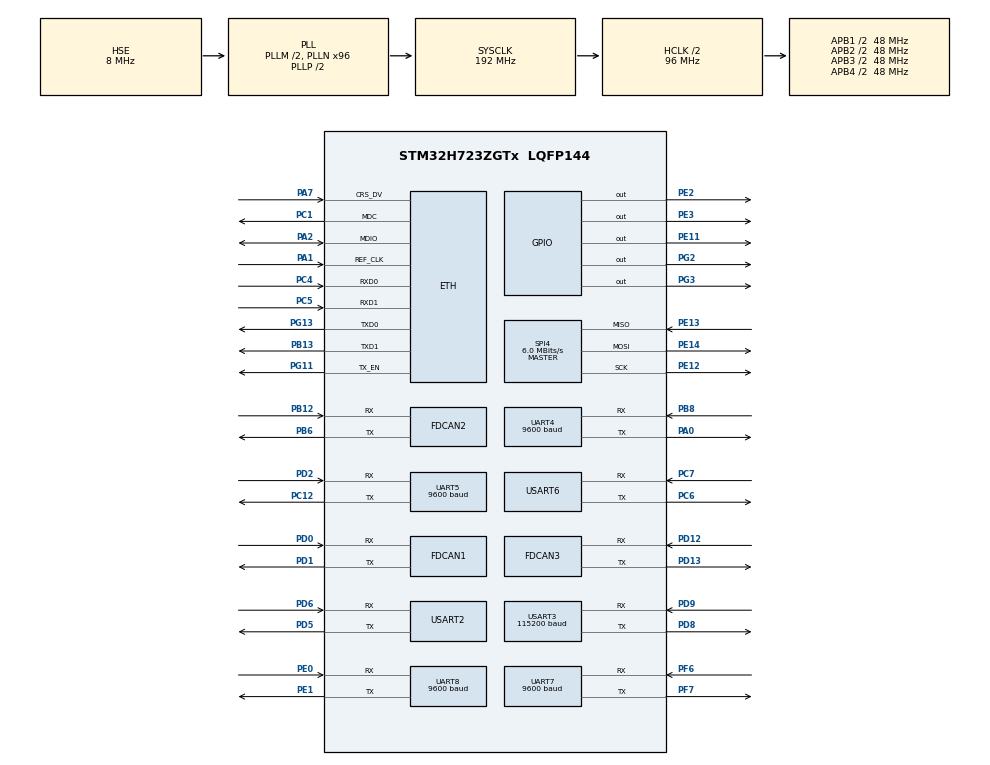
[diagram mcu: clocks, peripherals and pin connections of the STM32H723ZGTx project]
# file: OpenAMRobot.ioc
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CORTEX_M7.default_mode_Activation=1
DMA1.RequestsNb=2
DMA1.Stream0.Direction=DMA_PERIPH_TO_MEMORY
DMA1.Stream0.FIFOMode=DMA_FIFOMODE_DISABLE
DMA1.Stream0.Instance=DMA1_Stream0
DMA1.Stream0.MemDataAlignment=DMA_MDATAALIGN_BYTE
DMA1.Stream0.MemInc=DMA_MINC_ENABLE
DMA1.Stream0.Mode=DMA_CIRCULAR
DMA1.Stream0.PeriphDataAlignment=DMA_PDATAALIGN_BYTE
DMA1.Stream0.PeriphInc=DMA_PINC_DISABLE
DMA1.Stream0.Priority=DMA_PRIORITY_HIGH
DMA1.Stream0.Request=DMA_REQUEST_USART2_RX
DMA1.Stream1.Direction=DMA_PERIPH_TO_MEMORY
DMA1.Stream1.FIFOMode=DMA_FIFOMODE_DISABLE
DMA1.Stream1.Instance=DMA1_Stream1
DMA1.Stream1.MemDataAlignment=DMA_MDATAALIGN_BYTE
DMA1.Stream1.MemInc=DMA_MINC_ENABLE
DMA1.Stream1.Mode=DMA_CIRCULAR
DMA1.Stream1.PeriphDataAlignment=DMA_PDATAALIGN_BYTE
DMA1.Stream1.PeriphInc=DMA_PINC_DISABLE
DMA1.Stream1.Priority=DMA_PRIORITY_HIGH
DMA1.Stream1.Request=DMA_REQUEST_USART6_RX
ETH.MediaInterface=HAL_ETH_RMII_MODE
FDCAN1.AutoRetransmission=ENABLE
FDCAN1.CalculateBaudRateNominal=500000
FDCAN1.CalculateTimeBitNominal=2000
FDCAN1.CalculateTimeQuantumNominal=125.0
FDCAN1.MessageRAMOffset=0
FDCAN1.Mode=FDCAN_MODE_BUS_MONITORING
FDCAN1.NominalPrescaler=6
FDCAN1.NominalTimeSeg1=13
FDCAN1.NominalTimeSeg2=2
FDCAN1.RxFifo0ElmtsNbr=16
FDCAN1.StdFiltersNbr=1
FDCAN1.TxFifoQueueElmtsNbr=0
FDCAN2.AutoRetransmission=ENABLE
FDCAN2.CalculateBaudRateNominal=250000
FDCAN2.CalculateTimeBitNominal=4000
FDCAN2.CalculateTimeQuantumNominal=250.0
FDCAN2.ExtFiltersNbr=1
FDCAN2.MessageRAMOffset=512
FDCAN2.NominalPrescaler=12
FDCAN2.NominalTimeSeg1=13
FDCAN2.NominalTimeSeg2=2
FDCAN2.RxFifo0ElmtsNbr=16
FDCAN2.StdFiltersNbr=0
FDCAN2.TxFifoQueueElmtsNbr=8
FDCAN3.AutoRetransmission=ENABLE
FDCAN3.CalculateBaudRateNominal=500000
FDCAN3.CalculateTimeBitNominal=2000
FDCAN3.CalculateTimeQuantumNominal=125.0
FDCAN3.MessageRAMOffset=1024
FDCAN3.Mode=FDCAN_MODE_BUS_MONITORING
FDCAN3.NominalPrescaler=6
FDCAN3.NominalTimeSeg1=13
FDCAN3.NominalTimeSeg2=2
FDCAN3.RxFifo0ElmtsNbr=16
FDCAN3.StdFiltersNbr=1
FDCAN3.TxFifoQueueElmtsNbr=0
Mcu.Family=STM32H7
Mcu.Name=STM32H723ZGTx
Mcu.Package=LQFP144
NVIC.TIM8_UP_TIM13_IRQn=true\:5\:0\:true\:false\:true\:true\:true\:true
NVIC.DMA1_Stream0_IRQn=true\:5\:0\:true\:false\:true\:true\:true\:true
NVIC.DMA1_Stream1_IRQn=true\:5\:0\:true\:false\:true\:true\:true\:true
NVIC.ETH_IRQn=true\:5\:0\:true\:false\:true\:true\:true\:true
NVIC.FDCAN1_IT0_IRQn=true\:5\:0\:true\:false\:true\:true\:true\:true
NVIC.FDCAN2_IT0_IRQn=true\:5\:0\:true\:false\:true\:true\:true\:true
NVIC.FDCAN3_IT0_IRQn=true\:5\:0\:true\:false\:true\:true\:true\:true
NVIC.PriorityGroup=NVIC_PRIORITYGROUP_4
NVIC.UART4_IRQn=true\:5\:0\:true\:false\:true\:true\:true\:true
NVIC.UART5_IRQn=true\:5\:0\:true\:false\:true\:true\:true\:true
NVIC.UART7_IRQn=true\:5\:0\:true\:false\:true\:true\:true\:true
NVIC.UART8_IRQn=true\:5\:0\:true\:false\:true\:true\:true\:true
NVIC.USART2_IRQn=true\:5\:0\:true\:false\:true\:true\:true\:true
NVIC.USART3_IRQn=true\:5\:0\:true\:false\:true\:true\:true\:true
NVIC.USART6_IRQn=true\:5\:0\:true\:false\:true\:true\:true\:true
PA0.Mode=Asynchronous
PA0.Signal=UART4_TX
PA1.Mode=RMII
PA1.Signal=ETH_REF_CLK
PA13(JTMS/SWDIO).GPIO_Label=SWDIO
PA13(JTMS/SWDIO).Mode=Serial_Wire
PA13(JTMS/SWDIO).Signal=DEBUG_JTMS-SWDIO
PA14(JTCK/SWCLK).GPIO_Label=SWCLK
PA14(JTCK/SWCLK).Mode=Serial_Wire
PA14(JTCK/SWCLK).Signal=DEBUG_JTCK-SWCLK
PA2.Mode=RMII
PA2.Signal=ETH_MDIO
PA7.Mode=RMII
PA7.Signal=ETH_CRS_DV
PB12.Mode=FDCAN_Activate
PB12.Signal=FDCAN2_RX
PB13.Mode=RMII
PB13.Signal=ETH_TXD1
PB6.Mode=FDCAN_Activate
PB6.Signal=FDCAN2_TX
PB8.Mode=Asynchronous
PB8.Signal=UART4_RX
PC1.Mode=RMII
PC1.Signal=ETH_MDC
PC12.Mode=Asynchronous
PC12.Signal=UART5_TX
PC14-OSC32_IN.Signal=RCC_OSC32_IN
PC15-OSC32_OUT.Signal=RCC_OSC32_OUT
PC4.Mode=RMII
PC4.Signal=ETH_RXD0
PC5.Mode=RMII
PC5.Signal=ETH_RXD1
PC6.Mode=Asynchronous
PC6.Signal=USART6_TX
PC7.Mode=Asynchronous
PC7.Signal=USART6_RX
PD0.Mode=FDCAN_Activate
PD0.Signal=FDCAN1_RX
PD1.Mode=FDCAN_Activate
PD1.Signal=FDCAN1_TX
PD12.Mode=FDCAN_Activate
PD12.Signal=FDCAN3_RX
PD13.Mode=FDCAN_Activate
PD13.Signal=FDCAN3_TX
PD2.Mode=Asynchronous
PD2.Signal=UART5_RX
PD5.Mode=Asynchronous
PD5.Signal=USART2_TX
PD6.Mode=Asynchronous
PD6.Signal=USART2_RX
PD8.Mode=Asynchronous
PD8.Signal=USART3_TX
PD9.Mode=Asynchronous
PD9.Signal=USART3_RX
PE0.Mode=Asynchronous
PE0.Signal=UART8_RX
PE1.Mode=Asynchronous
PE1.Signal=UART8_TX
PE11.PinState=GPIO_PIN_SET
PE11.Signal=GPIO_Output
PE12.Mode=Full_Duplex_Master
PE12.Signal=SPI4_SCK
PE13.GPIO_Mode=GPIO_MODE_AF_PP
PE13.GPIO_PuPd=GPIO_NOPULL
PE13.GPIO_Speed=GPIO_SPEED_FREQ_LOW
PE13.Mode=Full_Duplex_Master
PE13.Signal=SPI4_MISO
PE14.Mode=Full_Duplex_Master
PE14.Signal=SPI4_MOSI
PE2.Signal=GPIO_Output
PE3.Signal=GPIO_Output
PF6.Mode=Asynchronous
PF6.Signal=UART7_RX
PF7.Mode=Asynchronous
PF7.Signal=UART7_TX
PG11.Mode=RMII
PG11.Signal=ETH_TX_EN
PG13.Mode=RMII
PG13.Signal=ETH_TXD0
PG2.Signal=GPIO_Output
PG3.Signal=GPIO_Output
PH0-OSC_IN.Mode=HSE-External-Clock-Source
PH0-OSC_IN.Signal=RCC_OSC_IN
ProjectManager.HeapSize=0x200
ProjectManager.StackSize=0x1000
ProjectManager.TargetToolchain=CMake
TIM13.Channel-Output_Compare_No_Output=TIM_CHANNEL_1
TIM13.Period=65535
TIM13.Prescaler=47
RCC.ADCFreq_Value=76000000
RCC.APB1Freq_Value=48000000
RCC.APB2Freq_Value=48000000
RCC.APB3Freq_Value=48000000
RCC.APB4Freq_Value=48000000
RCC.CortexFreq_Value=192000000
RCC.D1PPRE=RCC_APB3_DIV2
RCC.D2PPRE1=RCC_APB1_DIV2
RCC.D2PPRE2=RCC_APB2_DIV2
RCC.D3PPRE=RCC_APB4_DIV2
RCC.DIVM1=2
RCC.DIVM2=1
RCC.DIVN1=96
RCC.DIVN2=19
RCC.DIVQ1=8
RCC.HCLKFreq_Value=96000000
RCC.HPRE=RCC_HCLK_DIV2
RCC.HSE_VALUE=8000000
RCC.PLLFRACN=0
RCC.PLLSourceVirtual=RCC_PLLSOURCE_HSE
RCC.SYSCLKFreq_VALUE=192000000
RCC.SYSCLKSource=RCC_SYSCLKSOURCE_PLLCLK
RCC.USBCLockSelection=RCC_USBCLKSOURCE_HSI48
RCC.USBFreq_Value=48000000
SPI4.BaudRatePrescaler=SPI_BAUDRATEPRESCALER_8
SPI4.CalculateBaudRate=6.0 MBits/s
SPI4.DataSize=SPI_DATASIZE_8BIT
SPI4.Direction=SPI_DIRECTION_2LINES
SPI4.Mode=SPI_MODE_MASTER
SPI4.VirtualType=VM_MASTER
UART4.BaudRate=9600
UART4.Mode=MODE_RX
UART4.RxPinLevelInvertParam=UART_ADVFEATURE_RXINV_ENABLE
UART5.BaudRate=9600
UART5.Mode=MODE_RX
UART5.RxPinLevelInvertParam=UART_ADVFEATURE_RXINV_ENABLE
UART7.BaudRate=9600
UART7.Mode=MODE_RX
UART7.RxPinLevelInvertParam=UART_ADVFEATURE_RXINV_ENABLE
UART8.BaudRate=9600
UART8.Mode=MODE_RX
UART8.RxPinLevelInvertParam=UART_ADVFEATURE_RXINV_ENABLE
USART2.VirtualMode-Asynchronous=VM_ASYNC
USART2_RX.Mode=RX
USART2_RX.Stream=DMA1_Stream0
USART3.BaudRate=115200
USART3.Mode=MODE_TX_RX
USART3.VirtualMode-Asynchronous=VM_ASYNC
USART6.VirtualMode-Asynchronous=VM_ASYNC
USART6_RX.Mode=RX
USART6_RX.Stream=DMA1_Stream1
VP_MEMORYMAP_VS_MEMORYMAP.Mode=CurAppReg
VP_NUCLEO-H723ZG_VS_BSP_COMMON.Mode=COMMON
board=NUCLEO-H723ZG

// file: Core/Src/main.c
/* USER CODE BEGIN Header */
/**
  ******************************************************************************
  * @file           : main.c
  * @brief          : Main program body
  ******************************************************************************
  * @attention
  *
  * Copyright (c) 2026 STMicroelectronics.
  * All rights reserved.
  *
  * This software is licensed under terms that can be found in the LICENSE file
  * in the root directory of this software component.
  * If no LICENSE file comes with this software, it is provided AS-IS.
  *
  ******************************************************************************
  */
/* USER CODE END Header */
#include "main.h"
#include "diagnostics_uart.h"
#include "fault_capture.h"
#include "fault_reporter.h"
#include "fdcan_adapter.h"
#include "oamr_board_smoke.h"
#include "mb7060_sensor.h"
#include "sensor_dma.h"
#include "string.h"

#if defined ( __ICCARM__ ) /*!< IAR Compiler */
#pragma location=0x30000000
ETH_DMADescTypeDef  DMARxDscrTab[ETH_RX_DESC_CNT]; /* Ethernet Rx DMA Descriptors */
#pragma location=0x30000080
ETH_DMADescTypeDef  DMATxDscrTab[ETH_TX_DESC_CNT]; /* Ethernet Tx DMA Descriptors */

#elif defined ( __CC_ARM )  /* MDK ARM Compiler */

__attribute__((at(0x30000000))) ETH_DMADescTypeDef  DMARxDscrTab[ETH_RX_DESC_CNT]; /* Ethernet Rx DMA Descriptors */
__attribute__((at(0x30000080))) ETH_DMADescTypeDef  DMATxDscrTab[ETH_TX_DESC_CNT]; /* Ethernet Tx DMA Descriptors */

#elif defined ( __GNUC__ ) /* GNU Compiler */

ETH_DMADescTypeDef DMARxDscrTab[ETH_RX_DESC_CNT] __attribute__((section(".RxDescripSection"))); /* Ethernet Rx DMA Descriptors */
ETH_DMADescTypeDef DMATxDscrTab[ETH_TX_DESC_CNT] __attribute__((section(".TxDescripSection")));   /* Ethernet Tx DMA Descriptors */
#endif

ETH_TxPacketConfig TxConfig;

ETH_HandleTypeDef heth;

FDCAN_HandleTypeDef hfdcan1;
FDCAN_HandleTypeDef hfdcan2;
FDCAN_HandleTypeDef hfdcan3;

SPI_HandleTypeDef hspi4;
TIM_HandleTypeDef htim13;

DMA_HandleTypeDef hdma_usart2_rx;
DMA_HandleTypeDef hdma_usart6_rx;

UART_HandleTypeDef huart4;
UART_HandleTypeDef huart5;
UART_HandleTypeDef huart7;
UART_HandleTypeDef huart8;
UART_HandleTypeDef huart2;
UART_HandleTypeDef huart3;
UART_HandleTypeDef huart6;

/* USER CODE BEGIN PV */
static uint32_t diagnostics_reset_flags;
static fault_reporter_t fault_reporter;

/* USER CODE END PV */

void SystemClock_Config(void);
static void MPU_Config(void);
static void MX_GPIO_Init(void);
static void MX_DMA_Init(void);
static void MX_TIM13_Init(void);

/* Provisional sensor scheduling values for non-actuating bench configuration;
 * response/acoustic timing still requires measurement and approval. */
#define MB7060_READING_TIMEOUT_US UINT64_C(120000)
#define MB7060_INTER_SENSOR_GAP_US UINT64_C(10000)
static void MX_FDCAN1_Init(void);
static void MX_FDCAN2_Init(void);
static void MX_FDCAN3_Init(void);
static void MX_SPI4_Init(void);
static void MX_UART7_Init(void);
static void MX_USART2_UART_Init(void);
static void MX_USART3_UART_Init(void);
static void MX_USART6_UART_Init(void);
static void MX_ETH_Init(void);
static void MX_UART8_Init(void);
static void MX_UART4_Init(void);
static void MX_UART5_Init(void);

/* USER CODE BEGIN 0 */
#if defined(DEBUG)
extern uint32_t _sstack;

/* Keep watermark locals out of the region being painted. High-water measurement
 * is intentionally not provided yet. */
__attribute__((naked, noinline, used)) static void Debug_StackWatermarkInit(void)
{
  __asm volatile
  (
    "ldr r0, =_sstack\n"
    "mrs r1, MSP\n"
    "bic r1, r1, #3\n"
    "ldr r2, =0xA5A5A5A5\n"
    "1: cmp r0, r1\n"
    "bcs 2f\n"
    "str r2, [r0], #4\n"
    "b 1b\n"
    "2: bx lr\n"
    :
    :
    : "r0", "r1", "r2", "memory"
  );
}
#endif
/* USER CODE END 0 */

int main(void)
{

  /* USER CODE BEGIN 1 */
  /* Preserve every reset cause before any initialization can clear RSR. */
  diagnostics_reset_flags = diagnostics_uart_capture_reset_flags();
#if defined(DEBUG)
  Debug_StackWatermarkInit();
#endif
  /* USER CODE END 1 */

  /* MPU Configuration--------------------------------------------------------*/
  MPU_Config();

  /* MCU Configuration--------------------------------------------------------*/

  /* Reset of all peripherals, Initializes the Flash interface and the Systick. */
  HAL_Init();
  /* Enable the backup regulator only after HAL's timebase is running, then
   * copy validated retained evidence before other peripheral initialization. */
  fault_capture_boot_init();

  /* Configure the system clock */
  SystemClock_Config();

  /* USER CODE BEGIN SysInit */
  fault_capture_boot_complete();
  /* USER CODE END SysInit */

  /* Initialize all configured peripherals */
  MX_GPIO_Init();
  MX_DMA_Init();
  MX_TIM13_Init();
  MX_FDCAN1_Init();
  MX_FDCAN2_Init();
  MX_FDCAN3_Init();
  MX_SPI4_Init();
  MX_UART7_Init();
  MX_USART2_UART_Init();
  MX_USART3_UART_Init();
  MX_USART6_UART_Init();
  MX_ETH_Init();
  MX_UART8_Init();
  MX_UART4_Init();
  MX_UART5_Init();
  /* USER CODE BEGIN 2 */
  /* Retain an embedded API consumer without enabling any peripheral behavior. */
  (void)oamr_board_smoke();

  /*
   * Pin-map exceptions (NUCLEO-H723ZG pin map, Section 7):
   * PA0, PC12 and PF7 are unused MCU UART TX pins for the
   * receive-only MB7060 interfaces.
   * PE1 is released from UART8_TX and repurposed as the
   * onboard LD2 debug GPIO.
  */
  HAL_GPIO_DeInit(GPIOA, GPIO_PIN_0);
  HAL_GPIO_DeInit(GPIOC, GPIO_PIN_12);
  HAL_GPIO_DeInit(GPIOF, GPIO_PIN_7);
  HAL_GPIO_DeInit(GPIOE, GPIO_PIN_1);

  /* Repurpose LD2 (PE1) from UART8_TX as a debug GPIO. */
  GPIO_InitTypeDef GPIO_InitStruct = {0};
  HAL_GPIO_WritePin(GPIOE, GPIO_PIN_1, GPIO_PIN_RESET);
  GPIO_InitStruct.Pin = GPIO_PIN_1;
  GPIO_InitStruct.Mode = GPIO_MODE_OUTPUT_PP;
  GPIO_InitStruct.Pull = GPIO_NOPULL;
  GPIO_InitStruct.Speed = GPIO_SPEED_FREQ_LOW;
  HAL_GPIO_Init(GPIOE, &GPIO_InitStruct);

  /* Raw DMA may run before the delivered TF-Luna units are confirmed, but
   * sensor_dma_init leaves parsing disabled until explicit configuration. */
  (void)diagnostics_uart_init(&huart3, diagnostics_reset_flags);
  (void)fault_reporter_init(&fault_reporter, diagnostics_uart_transport_write, NULL);
  if (fault_capture_boot_has_record())
  {
    oamr_fault_record_t boot_fault;
    oamr_exception_capture_metadata_t boot_metadata;
    if (fault_capture_boot_get_snapshot(&boot_fault, &boot_metadata))
    {
      (void)fault_reporter_submit(&fault_reporter, &boot_fault, &boot_metadata);
    }
  }
  bool sensors_ready = sensor_dma_init();
  if (!sensors_ready)
  {
    diagnostics_uart_report_startup_failure("sensor_dma", huart2.ErrorCode | huart6.ErrorCode);
  }
  if (sensors_ready && !mb7060_sensor_init(MB7060_READING_TIMEOUT_US, MB7060_INTER_SENSOR_GAP_US))
  {
    diagnostics_uart_report_startup_failure("mb7060", 1U);
    sensors_ready = false;
  }

  /* Start CAN receive/error paths only: FDCAN1/3 are bus-monitoring diagnostics,
   * FDCAN2 has no scheduled request, and no actuator state is changed. */
  bool fdcan_ready = fdcan_adapter_init();
  if (!fdcan_ready)
  {
    uint32_t fdcan_error = hfdcan1.ErrorCode | hfdcan2.ErrorCode | hfdcan3.ErrorCode;
    diagnostics_uart_report_startup_failure("fdcan", fdcan_error);
  }
  diagnostics_uart_report_boot(sensors_ready, fdcan_ready);
  if (!sensors_ready)
  {
    /* Keep the established sensor failure behavior; reporting never replaces it.
     * Error_Handler disables interrupts, so queued diagnostics are best-effort
     * only and may remain undelivered on this terminal path. */
    Error_Handler();
  }

  /* USER CODE END 2 */

  /* Infinite loop */
  /* USER CODE BEGIN WHILE */
  while (1)
  {
    sensor_dma_poll(HAL_GetTick());
    mb7060_sensor_poll();
    fdcan_adapter_poll(HAL_GetTick());
    (void)fault_reporter_poll(&fault_reporter);
    diagnostics_uart_poll();

    /* USER CODE END WHILE */

  }
}

void SystemClock_Config(void)
{
  RCC_OscInitTypeDef RCC_OscInitStruct = {0};
  RCC_ClkInitTypeDef RCC_ClkInitStruct = {0};

  /** Supply configuration update enable
  */
  HAL_PWREx_ConfigSupply(PWR_LDO_SUPPLY);

  /** Configure the main internal regulator output voltage
  */
  __HAL_PWR_VOLTAGESCALING_CONFIG(PWR_REGULATOR_VOLTAGE_SCALE2);

  while(!__HAL_PWR_GET_FLAG(PWR_FLAG_VOSRDY)) {}

  /** Initializes the RCC Oscillators according to the specified parameters
  * in the RCC_OscInitTypeDef structure.
  */
  RCC_OscInitStruct.OscillatorType = RCC_OSCILLATORTYPE_HSE;
  RCC_OscInitStruct.HSEState = RCC_HSE_BYPASS;
  RCC_OscInitStruct.PLL.PLLState = RCC_PLL_ON;
  RCC_OscInitStruct.PLL.PLLSource = RCC_PLLSOURCE_HSE;
  RCC_OscInitStruct.PLL.PLLM = 2;
  RCC_OscInitStruct.PLL.PLLN = 96;
  RCC_OscInitStruct.PLL.PLLP = 2;
  RCC_OscInitStruct.PLL.PLLQ = 8;
  RCC_OscInitStruct.PLL.PLLR = 2;
  RCC_OscInitStruct.PLL.PLLRGE = RCC_PLL1VCIRANGE_2;
  RCC_OscInitStruct.PLL.PLLVCOSEL = RCC_PLL1VCOWIDE;
  RCC_OscInitStruct.PLL.PLLFRACN = 0;
  if (HAL_RCC_OscConfig(&RCC_OscInitStruct) != HAL_OK)
  {
    Error_Handler();
  }

  /** Initializes the CPU, AHB and APB buses clocks
  */
  RCC_ClkInitStruct.ClockType = RCC_CLOCKTYPE_HCLK|RCC_CLOCKTYPE_SYSCLK
                              |RCC_CLOCKTYPE_PCLK1|RCC_CLOCKTYPE_PCLK2
                              |RCC_CLOCKTYPE_D3PCLK1|RCC_CLOCKTYPE_D1PCLK1;
  RCC_ClkInitStruct.SYSCLKSource = RCC_SYSCLKSOURCE_PLLCLK;
  RCC_ClkInitStruct.SYSCLKDivider = RCC_SYSCLK_DIV1;
  RCC_ClkInitStruct.AHBCLKDivider = RCC_HCLK_DIV2;
  RCC_ClkInitStruct.APB3CLKDivider = RCC_APB3_DIV2;
  RCC_ClkInitStruct.APB1CLKDivider = RCC_APB1_DIV2;
  RCC_ClkInitStruct.APB2CLKDivider = RCC_APB2_DIV2;
  RCC_ClkInitStruct.APB4CLKDivider = RCC_APB4_DIV2;

  if (HAL_RCC_ClockConfig(&RCC_ClkInitStruct, FLASH_LATENCY_1) != HAL_OK)
  {
    Error_Handler();
  }
}

static void MX_ETH_Init(void)
{

   static uint8_t MACAddr[6];

  heth.Instance = ETH;
  MACAddr[0] = 0x00;
  MACAddr[1] = 0x80;
  MACAddr[2] = 0xE1;
  MACAddr[3] = 0x00;
  MACAddr[4] = 0x00;
  MACAddr[5] = 0x00;
  heth.Init.MACAddr = &MACAddr[0];
  heth.Init.MediaInterface = HAL_ETH_RMII_MODE;
  heth.Init.TxDesc = DMATxDscrTab;
  heth.Init.RxDesc = DMARxDscrTab;
  heth.Init.RxBuffLen = 1536;

  if (HAL_ETH_Init(&heth) != HAL_OK)
  {
    Error_Handler();
  }

  memset(&TxConfig, 0 , sizeof(ETH_TxPacketConfig));
  TxConfig.Attributes = ETH_TX_PACKETS_FEATURES_CSUM | ETH_TX_PACKETS_FEATURES_CRCPAD;
  TxConfig.ChecksumCtrl = ETH_CHECKSUM_IPHDR_PAYLOAD_INSERT_PHDR_CALC;
  TxConfig.CRCPadCtrl = ETH_CRC_PAD_INSERT;

}

static void MX_FDCAN1_Init(void)
{

  hfdcan1.Instance = FDCAN1;
  hfdcan1.Init.FrameFormat = FDCAN_FRAME_CLASSIC;
  hfdcan1.Init.Mode = FDCAN_MODE_BUS_MONITORING;
  hfdcan1.Init.AutoRetransmission = ENABLE;
  hfdcan1.Init.TransmitPause = DISABLE;
  hfdcan1.Init.ProtocolException = DISABLE;
  hfdcan1.Init.NominalPrescaler = 6;
  hfdcan1.Init.NominalSyncJumpWidth = 1;
  hfdcan1.Init.NominalTimeSeg1 = 13;
  hfdcan1.Init.NominalTimeSeg2 = 2;
  hfdcan1.Init.DataPrescaler = 1;
  hfdcan1.Init.DataSyncJumpWidth = 1;
  hfdcan1.Init.DataTimeSeg1 = 1;
  hfdcan1.Init.DataTimeSeg2 = 1;
  hfdcan1.Init.MessageRAMOffset = 0;
  hfdcan1.Init.StdFiltersNbr = 1;
  hfdcan1.Init.ExtFiltersNbr = 0;
  hfdcan1.Init.RxFifo0ElmtsNbr = 16;
  hfdcan1.Init.RxFifo0ElmtSize = FDCAN_DATA_BYTES_8;
  hfdcan1.Init.RxFifo1ElmtsNbr = 0;
  hfdcan1.Init.RxFifo1ElmtSize = FDCAN_DATA_BYTES_8;
  hfdcan1.Init.RxBuffersNbr = 0;
  hfdcan1.Init.RxBufferSize = FDCAN_DATA_BYTES_8;
  hfdcan1.Init.TxEventsNbr = 0;
  hfdcan1.Init.TxBuffersNbr = 0;
  hfdcan1.Init.TxFifoQueueElmtsNbr = 0;
  hfdcan1.Init.TxFifoQueueMode = FDCAN_TX_FIFO_OPERATION;
  hfdcan1.Init.TxElmtSize = FDCAN_DATA_BYTES_8;
  if (HAL_FDCAN_Init(&hfdcan1) != HAL_OK)
  {
    Error_Handler();
  }
  /* USER CODE BEGIN FDCAN1_Init 2 */
  /* Diagnostic-only bus monitoring is intentional until exact CANopen filters
   * are approved. No FDCAN1 transmission API is provided by the application. */
  /* USER CODE END FDCAN1_Init 2 */

}

static void MX_FDCAN2_Init(void)
{

  hfdcan2.Instance = FDCAN2;
  hfdcan2.Init.FrameFormat = FDCAN_FRAME_CLASSIC;
  hfdcan2.Init.Mode = FDCAN_MODE_NORMAL;
  hfdcan2.Init.AutoRetransmission = ENABLE;
  hfdcan2.Init.TransmitPause = DISABLE;
  hfdcan2.Init.ProtocolException = DISABLE;
  hfdcan2.Init.NominalPrescaler = 12;
  hfdcan2.Init.NominalSyncJumpWidth = 1;
  hfdcan2.Init.NominalTimeSeg1 = 13;
  hfdcan2.Init.NominalTimeSeg2 = 2;
  hfdcan2.Init.DataPrescaler = 1;
  hfdcan2.Init.DataSyncJumpWidth = 1;
  hfdcan2.Init.DataTimeSeg1 = 1;
  hfdcan2.Init.DataTimeSeg2 = 1;
  hfdcan2.Init.MessageRAMOffset = 512;
  hfdcan2.Init.StdFiltersNbr = 0;
  hfdcan2.Init.ExtFiltersNbr = 1;
  hfdcan2.Init.RxFifo0ElmtsNbr = 16;
  hfdcan2.Init.RxFifo0ElmtSize = FDCAN_DATA_BYTES_8;
  hfdcan2.Init.RxFifo1ElmtsNbr = 0;
  hfdcan2.Init.RxFifo1ElmtSize = FDCAN_DATA_BYTES_8;
  hfdcan2.Init.RxBuffersNbr = 0;
  hfdcan2.Init.RxBufferSize = FDCAN_DATA_BYTES_8;
  hfdcan2.Init.TxEventsNbr = 0;
  hfdcan2.Init.TxBuffersNbr = 0;
  hfdcan2.Init.TxFifoQueueElmtsNbr = 8;
  hfdcan2.Init.TxFifoQueueMode = FDCAN_TX_FIFO_OPERATION;
  hfdcan2.Init.TxElmtSize = FDCAN_DATA_BYTES_8;
  if (HAL_FDCAN_Init(&hfdcan2) != HAL_OK)
  {
    Error_Handler();
  }

}

static void MX_FDCAN3_Init(void)
{

  hfdcan3.Instance = FDCAN3;
  hfdcan3.Init.FrameFormat = FDCAN_FRAME_CLASSIC;
  hfdcan3.Init.Mode = FDCAN_MODE_BUS_MONITORING;
  hfdcan3.Init.AutoRetransmission = ENABLE;
  hfdcan3.Init.TransmitPause = DISABLE;
  hfdcan3.Init.ProtocolException = DISABLE;
  hfdcan3.Init.NominalPrescaler = 6;
  hfdcan3.Init.NominalSyncJumpWidth = 1;
  hfdcan3.Init.NominalTimeSeg1 = 13;
  hfdcan3.Init.NominalTimeSeg2 = 2;
  hfdcan3.Init.DataPrescaler = 1;
  hfdcan3.Init.DataSyncJumpWidth = 1;
  hfdcan3.Init.DataTimeSeg1 = 1;
  hfdcan3.Init.DataTimeSeg2 = 1;
  hfdcan3.Init.MessageRAMOffset = 1024;
  hfdcan3.Init.StdFiltersNbr = 1;
  hfdcan3.Init.ExtFiltersNbr = 0;
  hfdcan3.Init.RxFifo0ElmtsNbr = 16;
  hfdcan3.Init.RxFifo0ElmtSize = FDCAN_DATA_BYTES_8;
  hfdcan3.Init.RxFifo1ElmtsNbr = 0;
  hfdcan3.Init.RxFifo1ElmtSize = FDCAN_DATA_BYTES_8;
  hfdcan3.Init.RxBuffersNbr = 0;
  hfdcan3.Init.RxBufferSize = FDCAN_DATA_BYTES_8;
  hfdcan3.Init.TxEventsNbr = 0;
  hfdcan3.Init.TxBuffersNbr = 0;
  hfdcan3.Init.TxFifoQueueElmtsNbr = 0;
  hfdcan3.Init.TxFifoQueueMode = FDCAN_TX_FIFO_OPERATION;
  hfdcan3.Init.TxElmtSize = FDCAN_DATA_BYTES_8;
  if (HAL_FDCAN_Init(&hfdcan3) != HAL_OK)
  {
    Error_Handler();
  }
  /* USER CODE BEGIN FDCAN3_Init 2 */
  /* Diagnostic-only bus monitoring is intentional until exact CANopen filters
   * are approved. No FDCAN3 transmission API is provided by the application. */
  /* USER CODE END FDCAN3_Init 2 */

}

static void MX_SPI4_Init(void)
{

  /* SPI4 parameter configuration*/
  hspi4.Instance = SPI4;
  hspi4.Init.Mode = SPI_MODE_MASTER;
  hspi4.Init.Direction = SPI_DIRECTION_2LINES;
  hspi4.Init.DataSize = SPI_DATASIZE_8BIT;
  hspi4.Init.CLKPolarity = SPI_POLARITY_LOW;
  hspi4.Init.CLKPhase = SPI_PHASE_1EDGE;
  hspi4.Init.NSS = SPI_NSS_SOFT;
  hspi4.Init.BaudRatePrescaler = SPI_BAUDRATEPRESCALER_8;
  hspi4.Init.FirstBit = SPI_FIRSTBIT_MSB;
  hspi4.Init.TIMode = SPI_TIMODE_DISABLE;
  hspi4.Init.CRCCalculation = SPI_CRCCALCULATION_DISABLE;
  hspi4.Init.CRCPolynomial = 0x0;
  hspi4.Init.NSSPMode = SPI_NSS_PULSE_ENABLE;
  hspi4.Init.NSSPolarity = SPI_NSS_POLARITY_LOW;
  hspi4.Init.FifoThreshold = SPI_FIFO_THRESHOLD_01DATA;
  hspi4.Init.TxCRCInitializationPattern = SPI_CRC_INITIALIZATION_ALL_ZERO_PATTERN;
  hspi4.Init.RxCRCInitializationPattern = SPI_CRC_INITIALIZATION_ALL_ZERO_PATTERN;
  hspi4.Init.MasterSSIdleness = SPI_MASTER_SS_IDLENESS_00CYCLE;
  hspi4.Init.MasterInterDataIdleness = SPI_MASTER_INTERDATA_IDLENESS_00CYCLE;
  hspi4.Init.MasterReceiverAutoSusp = SPI_MASTER_RX_AUTOSUSP_DISABLE;
  hspi4.Init.MasterKeepIOState = SPI_MASTER_KEEP_IO_STATE_DISABLE;
  hspi4.Init.IOSwap = SPI_IO_SWAP_DISABLE;
  if (HAL_SPI_Init(&hspi4) != HAL_OK)
  {
    Error_Handler();
  }

}

static void MX_UART4_Init(void)
{

  huart4.Instance = UART4;
  huart4.Init.BaudRate = 9600;
  huart4.Init.WordLength = UART_WORDLENGTH_8B;
  huart4.Init.StopBits = UART_STOPBITS_1;
  huart4.Init.Parity = UART_PARITY_NONE;
  huart4.Init.Mode = UART_MODE_RX;
  huart4.Init.HwFlowCtl = UART_HWCONTROL_NONE;
  huart4.Init.OverSampling = UART_OVERSAMPLING_16;
  huart4.Init.OneBitSampling = UART_ONE_BIT_SAMPLE_DISABLE;
  huart4.Init.ClockPrescaler = UART_PRESCALER_DIV1;
  huart4.AdvancedInit.AdvFeatureInit = UART_ADVFEATURE_RXINVERT_INIT;
  huart4.AdvancedInit.RxPinLevelInvert = UART_ADVFEATURE_RXINV_ENABLE;
  if (HAL_UART_Init(&huart4) != HAL_OK)
  {
    Error_Handler();
  }
  if (HAL_UARTEx_SetTxFifoThreshold(&huart4, UART_TXFIFO_THRESHOLD_1_8) != HAL_OK)
  {
    Error_Handler();
  }
  if (HAL_UARTEx_SetRxFifoThreshold(&huart4, UART_RXFIFO_THRESHOLD_1_8) != HAL_OK)
  {
    Error_Handler();
  }
  if (HAL_UARTEx_DisableFifoMode(&huart4) != HAL_OK)
  {
    Error_Handler();
  }

}

static void MX_UART5_Init(void)
{

  huart5.Instance = UART5;
  huart5.Init.BaudRate = 9600;
  huart5.Init.WordLength = UART_WORDLENGTH_8B;
  huart5.Init.StopBits = UART_STOPBITS_1;
  huart5.Init.Parity = UART_PARITY_NONE;
  huart5.Init.Mode = UART_MODE_RX;
  huart5.Init.HwFlowCtl = UART_HWCONTROL_NONE;
  huart5.Init.OverSampling = UART_OVERSAMPLING_16;
  huart5.Init.OneBitSampling = UART_ONE_BIT_SAMPLE_DISABLE;
  huart5.Init.ClockPrescaler = UART_PRESCALER_DIV1;
  huart5.AdvancedInit.AdvFeatureInit = UART_ADVFEATURE_RXINVERT_INIT;
  huart5.AdvancedInit.RxPinLevelInvert = UART_ADVFEATURE_RXINV_ENABLE;
  if (HAL_UART_Init(&huart5) != HAL_OK)
  {
    Error_Handler();
  }
  if (HAL_UARTEx_SetTxFifoThreshold(&huart5, UART_TXFIFO_THRESHOLD_1_8) != HAL_OK)
  {
    Error_Handler();
  }
  if (HAL_UARTEx_SetRxFifoThreshold(&huart5, UART_RXFIFO_THRESHOLD_1_8) != HAL_OK)
  {
    Error_Handler();
  }
  if (HAL_UARTEx_DisableFifoMode(&huart5) != HAL_OK)
  {
    Error_Handler();
  }

}

static void MX_UART7_Init(void)
{

  huart7.Instance = UART7;
  huart7.Init.BaudRate = 9600;
  huart7.Init.WordLength = UART_WORDLENGTH_8B;
  huart7.Init.StopBits = UART_STOPBITS_1;
  huart7.Init.Parity = UART_PARITY_NONE;
  huart7.Init.Mode = UART_MODE_RX;
  huart7.Init.HwFlowCtl = UART_HWCONTROL_NONE;
  huart7.Init.OverSampling = UART_OVERSAMPLING_16;
  huart7.Init.OneBitSampling = UART_ONE_BIT_SAMPLE_DISABLE;
  huart7.Init.ClockPrescaler = UART_PRESCALER_DIV1;
  huart7.AdvancedInit.AdvFeatureInit = UART_ADVFEATURE_RXINVERT_INIT;
  huart7.AdvancedInit.RxPinLevelInvert = UART_ADVFEATURE_RXINV_ENABLE;
  if (HAL_UART_Init(&huart7) != HAL_OK)
  {
    Error_Handler();
  }
  if (HAL_UARTEx_SetTxFifoThreshold(&huart7, UART_TXFIFO_THRESHOLD_1_8) != HAL_OK)
  {
    Error_Handler();
  }
  if (HAL_UARTEx_SetRxFifoThreshold(&huart7, UART_RXFIFO_THRESHOLD_1_8) != HAL_OK)
  {
    Error_Handler();
  }
  if (HAL_UARTEx_DisableFifoMode(&huart7) != HAL_OK)
  {
    Error_Handler();
  }

}

static void MX_UART8_Init(void)
{

  huart8.Instance = UART8;
  huart8.Init.BaudRate = 9600;
  huart8.Init.WordLength = UART_WORDLENGTH_8B;
  huart8.Init.StopBits = UART_STOPBITS_1;
  huart8.Init.Parity = UART_PARITY_NONE;
  huart8.Init.Mode = UART_MODE_RX;
  huart8.Init.HwFlowCtl = UART_HWCONTROL_NONE;
  huart8.Init.OverSampling = UART_OVERSAMPLING_16;
  huart8.Init.OneBitSampling = UART_ONE_BIT_SAMPLE_DISABLE;
  huart8.Init.ClockPrescaler = UART_PRESCALER_DIV1;
  huart8.AdvancedInit.AdvFeatureInit = UART_ADVFEATURE_RXINVERT_INIT;
  huart8.AdvancedInit.RxPinLevelInvert = UART_ADVFEATURE_RXINV_ENABLE;
  if (HAL_UART_Init(&huart8) != HAL_OK)
  {
    Error_Handler();
  }
  if (HAL_UARTEx_SetTxFifoThreshold(&huart8, UART_TXFIFO_THRESHOLD_1_8) != HAL_OK)
  {
    Error_Handler();
  }
  if (HAL_UARTEx_SetRxFifoThreshold(&huart8, UART_RXFIFO_THRESHOLD_1_8) != HAL_OK)
  {
    Error_Handler();
  }
  if (HAL_UARTEx_DisableFifoMode(&huart8) != HAL_OK)
  {
    Error_Handler();
  }

}

static void MX_USART2_UART_Init(void)
{

  huart2.Instance = USART2;
  huart2.Init.BaudRate = 115200;
  huart2.Init.WordLength = UART_WORDLENGTH_8B;
  huart2.Init.StopBits = UART_STOPBITS_1;
  huart2.Init.Parity = UART_PARITY_NONE;
  huart2.Init.Mode = UART_MODE_TX_RX;
  huart2.Init.HwFlowCtl = UART_HWCONTROL_NONE;
  huart2.Init.OverSampling = UART_OVERSAMPLING_16;
  huart2.Init.OneBitSampling = UART_ONE_BIT_SAMPLE_DISABLE;
  huart2.Init.ClockPrescaler = UART_PRESCALER_DIV1;
  huart2.AdvancedInit.AdvFeatureInit = UART_ADVFEATURE_NO_INIT;
  if (HAL_UART_Init(&huart2) != HAL_OK)
  {
    Error_Handler();
  }
  if (HAL_UARTEx_SetTxFifoThreshold(&huart2, UART_TXFIFO_THRESHOLD_1_8) != HAL_OK)
  {
    Error_Handler();
  }
  if (HAL_UARTEx_SetRxFifoThreshold(&huart2, UART_RXFIFO_THRESHOLD_1_8) != HAL_OK)
  {
    Error_Handler();
  }
  if (HAL_UARTEx_DisableFifoMode(&huart2) != HAL_OK)
  {
    Error_Handler();
  }

}

static void MX_USART3_UART_Init(void)
{
  huart3.Instance = USART3;
  huart3.Init.BaudRate = 115200;
  huart3.Init.WordLength = UART_WORDLENGTH_8B;
  huart3.Init.StopBits = UART_STOPBITS_1;
  huart3.Init.Parity = UART_PARITY_NONE;
  huart3.Init.Mode = UART_MODE_TX_RX;
  huart3.Init.HwFlowCtl = UART_HWCONTROL_NONE;
  huart3.Init.OverSampling = UART_OVERSAMPLING_16;
  huart3.Init.OneBitSampling = UART_ONE_BIT_SAMPLE_DISABLE;
  huart3.Init.ClockPrescaler = UART_PRESCALER_DIV1;
  huart3.AdvancedInit.AdvFeatureInit = UART_ADVFEATURE_NO_INIT;
  if (HAL_UART_Init(&huart3) != HAL_OK)
  {
    Error_Handler();
  }
  if (HAL_UARTEx_SetTxFifoThreshold(&huart3, UART_TXFIFO_THRESHOLD_1_8) != HAL_OK ||
      HAL_UARTEx_SetRxFifoThreshold(&huart3, UART_RXFIFO_THRESHOLD_1_8) != HAL_OK ||
      HAL_UARTEx_DisableFifoMode(&huart3) != HAL_OK)
  {
    Error_Handler();
  }
}

static void MX_USART6_UART_Init(void)
{

  huart6.Instance = USART6;
  huart6.Init.BaudRate = 115200;
  huart6.Init.WordLength = UART_WORDLENGTH_8B;
  huart6.Init.StopBits = UART_STOPBITS_1;
  huart6.Init.Parity = UART_PARITY_NONE;
  huart6.Init.Mode = UART_MODE_TX_RX;
  huart6.Init.HwFlowCtl = UART_HWCONTROL_NONE;
  huart6.Init.OverSampling = UART_OVERSAMPLING_16;
  huart6.Init.OneBitSampling = UART_ONE_BIT_SAMPLE_DISABLE;
  huart6.Init.ClockPrescaler = UART_PRESCALER_DIV1;
  huart6.AdvancedInit.AdvFeatureInit = UART_ADVFEATURE_NO_INIT;
  if (HAL_UART_Init(&huart6) != HAL_OK)
  {
    Error_Handler();
  }
  if (HAL_UARTEx_SetTxFifoThreshold(&huart6, UART_TXFIFO_THRESHOLD_1_8) != HAL_OK)
  {
    Error_Handler();
  }
  if (HAL_UARTEx_SetRxFifoThreshold(&huart6, UART_RXFIFO_THRESHOLD_1_8) != HAL_OK)
  {
    Error_Handler();
  }
  if (HAL_UARTEx_DisableFifoMode(&huart6) != HAL_OK)
  {
    Error_Handler();
  }

}

static void MX_DMA_Init(void)
{

  /* DMA controller clock enable */
  __HAL_RCC_DMA1_CLK_ENABLE();

  /* DMA interrupt init */
  /* DMA1_Stream0_IRQn interrupt configuration */
  HAL_NVIC_SetPriority(DMA1_Stream0_IRQn, 5, 0);
  HAL_NVIC_EnableIRQ(DMA1_Stream0_IRQn);
  /* DMA1_Stream1_IRQn interrupt configuration */
  HAL_NVIC_SetPriority(DMA1_Stream1_IRQn, 5, 0);
  HAL_NVIC_EnableIRQ(DMA1_Stream1_IRQn);

}

static void MX_TIM13_Init(void)
{
  htim13.Instance = TIM13;
  htim13.Init.Prescaler = 47; /* 48 MHz timer kernel clock -> 1 MHz */
  htim13.Init.CounterMode = TIM_COUNTERMODE_UP;
  htim13.Init.Period = 0xFFFF;
  htim13.Init.ClockDivision = TIM_CLOCKDIVISION_DIV1;
  htim13.Init.AutoReloadPreload = TIM_AUTORELOAD_PRELOAD_DISABLE;
  if (HAL_TIM_Base_Init(&htim13) != HAL_OK ||
      HAL_TIM_OC_Init(&htim13) != HAL_OK ||
      HAL_TIM_Base_Start(&htim13) != HAL_OK)
  {
    Error_Handler();
  }
}

static void MX_GPIO_Init(void)
{
  GPIO_InitTypeDef GPIO_InitStruct = {0};

  /* GPIO Ports Clock Enable */
  __HAL_RCC_GPIOE_CLK_ENABLE();
  __HAL_RCC_GPIOC_CLK_ENABLE();
  __HAL_RCC_GPIOF_CLK_ENABLE();
  __HAL_RCC_GPIOH_CLK_ENABLE();
  __HAL_RCC_GPIOA_CLK_ENABLE();
  __HAL_RCC_GPIOB_CLK_ENABLE();
  __HAL_RCC_GPIOD_CLK_ENABLE();
  __HAL_RCC_GPIOG_CLK_ENABLE();

  /*Configure GPIO pin Output Level */
  HAL_GPIO_WritePin(GPIOE, GPIO_PIN_2|GPIO_PIN_3, GPIO_PIN_RESET);

  /*Configure GPIO pin Output Level */
  HAL_GPIO_WritePin(GPIOE, GPIO_PIN_11, GPIO_PIN_SET);

  /*Configure GPIO pin Output Level */
  HAL_GPIO_WritePin(GPIOG, GPIO_PIN_2|GPIO_PIN_3, GPIO_PIN_RESET);

  /*Configure GPIO pins : PE2 PE3 PE11 */
  GPIO_InitStruct.Pin = GPIO_PIN_2|GPIO_PIN_3|GPIO_PIN_11;
  GPIO_InitStruct.Mode = GPIO_MODE_OUTPUT_PP;
  GPIO_InitStruct.Pull = GPIO_NOPULL;
  GPIO_InitStruct.Speed = GPIO_SPEED_FREQ_LOW;
  HAL_GPIO_Init(GPIOE, &GPIO_InitStruct);

  /*Configure GPIO pins : PG2 PG3 */
  GPIO_InitStruct.Pin = GPIO_PIN_2|GPIO_PIN_3;
  GPIO_InitStruct.Mode = GPIO_MODE_OUTPUT_PP;
  GPIO_InitStruct.Pull = GPIO_NOPULL;
  GPIO_InitStruct.Speed = GPIO_SPEED_FREQ_LOW;
  HAL_GPIO_Init(GPIOG, &GPIO_InitStruct);

}

 /* MPU Configuration */

void MPU_Config(void)
{
  MPU_Region_InitTypeDef MPU_InitStruct = {0};

  /* Disables the MPU */
  HAL_MPU_Disable();

  /** Initializes and configures the Region and the memory to be protected
  */
  MPU_InitStruct.Enable = MPU_REGION_ENABLE;
  MPU_InitStruct.Number = MPU_REGION_NUMBER0;
  MPU_InitStruct.BaseAddress = 0x0;
  MPU_InitStruct.Size = MPU_REGION_SIZE_4GB;
  MPU_InitStruct.SubRegionDisable = 0x87;
  MPU_InitStruct.TypeExtField = MPU_TEX_LEVEL0;
  MPU_InitStruct.AccessPermission = MPU_REGION_NO_ACCESS;
  MPU_InitStruct.DisableExec = MPU_INSTRUCTION_ACCESS_DISABLE;
  MPU_InitStruct.IsShareable = MPU_ACCESS_SHAREABLE;
  MPU_InitStruct.IsCacheable = MPU_ACCESS_NOT_CACHEABLE;
  MPU_InitStruct.IsBufferable = MPU_ACCESS_NOT_BUFFERABLE;

  HAL_MPU_ConfigRegion(&MPU_InitStruct);
  /* Enables the MPU */
  HAL_MPU_Enable(MPU_PRIVILEGED_DEFAULT);

}

void Error_Handler(void)
{
  __disable_irq();
  while (1)
  {
  }
}
